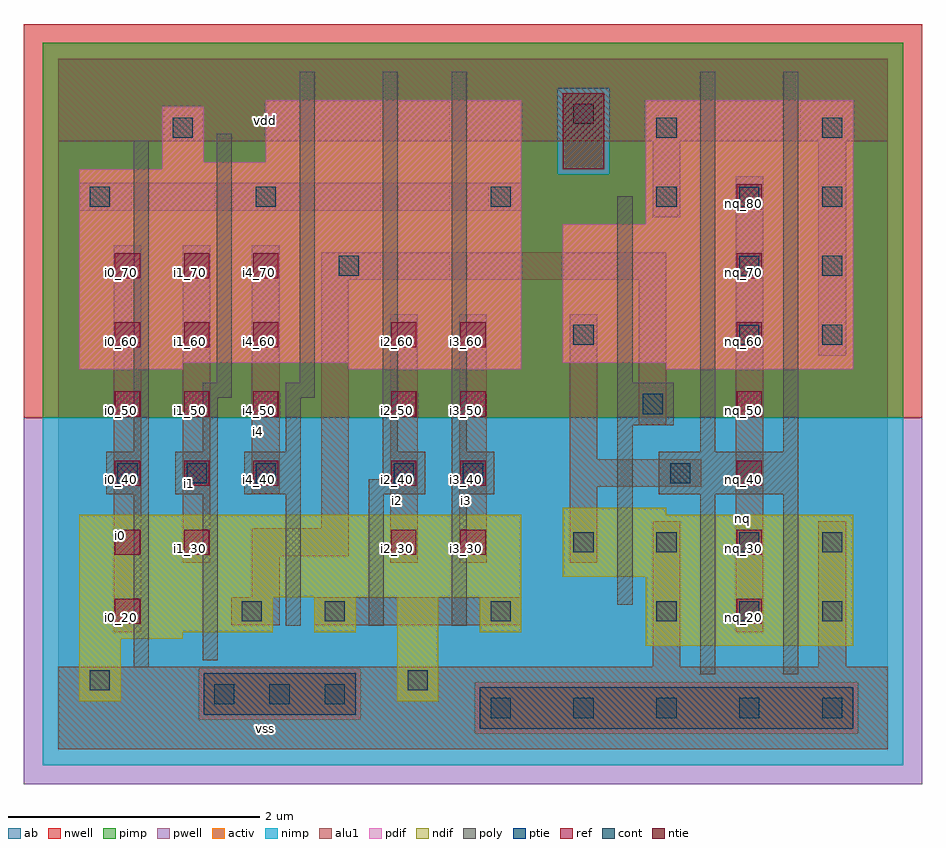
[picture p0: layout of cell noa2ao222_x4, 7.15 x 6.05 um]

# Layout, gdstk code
import gdstk
lib = gdstk.Library(unit=1e-6, precision=2.5e-09)
def R(c, l, rs):  # rectangles x0, y0, x1, y1
    for r in rs: c.add(gdstk.rectangle(r[:2], r[2:], *l))
def A(c, l, x, y, w, h, nx, ny, dx, dy):  # array of equal rectangles
    R(c, l, [(x+i*dx, y+j*dy, x+i*dx+w, y+j*dy+h) for i in range(nx) for j in range(ny)])
ndif = (3, 0)
pdif = (4, 0)
ntie = (5, 0)
ptie = (6, 0)
ref = (24, 0)
cont = (25, 0)
pwell = (41, 0)
nwell = (42, 0)
activ = (43, 0)
pimp = (44, 0)
nimp = (45, 0)
poly = (46, 0)
alu1 = (49, 0)
ab = (63, 0)

noa2ao222_x4 = lib.new_cell('noa2ao222_x4')
R(noa2ao222_x4, ndif, [(0.165,0.385,0.495,0.88), (2.695,0.385,3.025,1.21), (4.675,0.825,6.325,1.375), (0.165,0.88,0.99,0.935), (0.165,0.935,1.705,1.21), (2.035,0.935,2.365,1.21), (3.355,0.935,3.685,1.21), (0.165,1.21,3.685,1.87), (4.015,1.375,6.325,1.87), (4.015,1.87,4.84,1.925)])
R(noa2ao222_x4, pdif, [(0.165,3.025,0.99,3.08), (2.31,3.025,3.685,3.08), (4.84,3.025,6.325,3.08), (0.165,3.08,3.685,4.62), (4.015,3.08,6.325,4.18), (4.675,4.18,6.325,5.17), (0.825,4.62,3.685,4.675), (0.825,4.675,1.155,5.115), (1.65,4.675,3.685,5.17)])
R(noa2ao222_x4, ntie, [(4.015,4.62,4.345,5.225)])
R(noa2ao222_x4, ptie, [(3.355,0.165,6.325,0.495), (1.155,0.275,2.365,0.605)])
A(noa2ao222_x4, ref, 5.4, 1, 0.2, 0.2, 1, 7, 0, 0.55)
A(noa2ao222_x4, ref, 2.65, 1.55, 0.2, 0.2, 1, 4, 0, 0.55)
A(noa2ao222_x4, ref, 3.2, 1.55, 0.2, 0.2, 1, 4, 0, 0.55)
A(noa2ao222_x4, ref, 0.45, 2.1, 0.2, 0.2, 3, 4, 0.55, 0.55)
R(noa2ao222_x4, ref, [(0.45,1,0.65,1.2), (0.45,1.55,0.65,1.75), (1,1.55,1.2,1.75)])
A(noa2ao222_x4, cont, 3.44, 0.25, 0.16, 0.16, 5, 1, 0.66, 0)
A(noa2ao222_x4, cont, 1.24, 0.36, 0.16, 0.16, 3, 1, 0.44, 0)
A(noa2ao222_x4, cont, 2.12, 1.02, 0.16, 0.16, 3, 1, 1.32, 0)
A(noa2ao222_x4, cont, 4.1, 1.57, 0.16, 0.16, 4, 1, 0.66, 0)
A(noa2ao222_x4, cont, 0.47, 2.12, 0.16, 0.16, 3, 1, 0.55, 0)
A(noa2ao222_x4, cont, 4.76, 4.32, 0.16, 0.16, 3, 1, 0.66, 0)
R(noa2ao222_x4, cont, [(0.25,0.47,0.41,0.63), (2.78,0.47,2.94,0.63), (1.46,1.02,1.62,1.18), (5.42,1.02,5.58,1.18), (6.08,1.02,6.24,1.18), (2.67,2.12,2.83,2.28), (3.22,2.12,3.38,2.28), (4.87,2.12,5.03,2.28), (4.65,2.67,4.81,2.83), (4.1,3.22,4.26,3.38), (5.42,3.22,5.58,3.38), (6.08,3.22,6.24,3.38), (2.23,3.77,2.39,3.93), (5.42,3.77,5.58,3.93), (6.08,3.77,6.24,3.93), (0.25,4.32,0.41,4.48), (1.57,4.32,1.73,4.48), (3.44,4.32,3.6,4.48), (0.91,4.87,1.07,5.03), (4.76,4.87,4.92,5.03), (6.08,4.87,6.24,5.03), (4.1,4.98,4.26,5.14)])
R(noa2ao222_x4, pwell, [(-0.275,-0.275,6.875,2.64)])
R(noa2ao222_x4, nwell, [(-0.275,2.64,6.875,5.775)])
R(noa2ao222_x4, activ, [(3.355,0.165,6.325,0.495), (1.155,0.275,2.365,0.605), (0.165,0.385,0.495,0.88), (2.695,0.385,3.025,1.21), (4.675,0.825,6.325,1.375), (0.165,0.88,0.99,0.935), (0.165,0.935,1.705,1.21), (2.035,0.935,2.365,1.21), (3.355,0.935,3.685,1.21), (0.165,1.21,3.685,1.87), (4.015,1.375,6.325,1.87), (4.015,1.87,4.84,1.925), (0.165,3.025,0.99,3.08), (2.31,3.025,3.685,3.08), (4.84,3.025,6.325,3.08), (0.165,3.08,3.685,4.62), (4.015,3.08,6.325,4.18), (4.675,4.18,6.325,5.17), (0.825,4.62,3.685,4.675), (4.015,4.62,4.345,5.225), (0.825,4.675,1.155,5.115), (1.65,4.675,3.685,5.17)])
R(noa2ao222_x4, pimp, [(3.315,0.125,6.365,0.535), (1.115,0.235,2.405,0.645), (-0.125,2.64,6.725,4.58), (-0.125,4.58,3.975,5.265), (4.385,4.58,6.725,5.265), (-0.125,5.265,6.725,5.625)])
R(noa2ao222_x4, nimp, [(-0.125,-0.125,6.725,0.125), (-0.125,0.125,3.315,0.235), (6.365,0.125,6.725,0.535), (-0.125,0.235,1.115,0.645), (2.405,0.235,3.315,0.535), (2.405,0.535,6.725,0.645), (-0.125,0.645,6.725,2.64), (3.975,4.58,4.385,5.265)])
A(noa2ao222_x4, poly, 1.81, 0.985, 0.12, 1.045, 3, 1, 0.66, 0)
R(noa2ao222_x4, poly, [(5.11,0.6,5.23,2.03), (5.77,0.6,5.89,2.03), (0.6,0.655,0.72,2.03), (1.15,0.71,1.27,2.03), (4.45,1.15,4.57,2.58), (0.38,2.03,0.72,2.37), (0.93,2.03,1.27,2.37), (1.48,2.03,1.93,2.37), (2.47,2.03,2.92,2.15), (3.13,2.03,3.47,2.37), (4.78,2.03,5.89,2.37), (2.58,2.15,2.92,2.37), (0.6,2.37,0.72,4.845), (1.15,2.37,1.27,2.8), (1.81,2.37,1.93,2.8), (2.58,2.37,2.7,5.395), (3.13,2.37,3.25,5.395), (5.11,2.37,5.23,5.395), (5.77,2.37,5.89,5.395), (4.45,2.58,4.9,2.92), (1.15,2.8,1.38,2.92), (1.81,2.8,2.04,2.92), (1.26,2.92,1.38,4.9), (1.92,2.92,2.04,5.395), (4.45,2.92,4.57,4.405)])
R(noa2ao222_x4, alu1, [(0,0,6.6,0.66), (4.73,0.66,4.95,1.815), (6.05,0.66,6.27,1.815), (0.44,0.935,0.66,4.015), (5.39,0.935,5.61,4.565), (1.375,0.99,1.76,1.21), (2.035,0.99,3.685,1.21), (1.54,1.21,1.76,1.54), (0.99,1.485,1.21,4.015), (2.64,1.485,2.86,3.465), (3.19,1.485,3.41,3.465), (4.07,1.485,4.29,2.09), (1.54,1.54,2.31,1.76), (2.09,1.76,2.31,3.74), (1.54,2.035,1.76,4.015), (4.07,2.09,5.115,2.31), (4.07,2.31,4.29,3.465), (4.62,2.585,4.84,3.74), (6.05,3.135,6.27,4.84), (2.09,3.74,4.84,3.96), (4.73,4.235,4.95,4.84), (0.165,4.29,3.685,4.51), (0,4.84,6.6,5.5)])
R(noa2ao222_x4, ab, [(0,0,6.6,5.5)])
noa2ao222_x4.add(gdstk.Label('vss', (1.65,0.165), layer=49, texttype=0))
noa2ao222_x4.add(gdstk.Label('nq', (5.445,1.8425), layer=49, texttype=0))
noa2ao222_x4.add(gdstk.Label('i3', (3.245,1.98), layer=49, texttype=0))
noa2ao222_x4.add(gdstk.Label('i2', (2.695,1.98), layer=49, texttype=0))
noa2ao222_x4.add(gdstk.Label('i4', (1.595,2.53), layer=49, texttype=0))
noa2ao222_x4.add(gdstk.Label('i1', (1.045,2.1175), layer=49, texttype=0))
noa2ao222_x4.add(gdstk.Label('i0', (0.495,1.705), layer=49, texttype=0))
noa2ao222_x4.add(gdstk.Label('vdd', (1.65,5.005), layer=49, texttype=0))
noa2ao222_x4.add(gdstk.Label('nq_80', (5.45,4.35), layer=24, texttype=0))
noa2ao222_x4.add(gdstk.Label('nq_40', (5.45,2.15), layer=24, texttype=0))
noa2ao222_x4.add(gdstk.Label('nq_50', (5.45,2.7), layer=24, texttype=0))
noa2ao222_x4.add(gdstk.Label('nq_60', (5.45,3.25), layer=24, texttype=0))
noa2ao222_x4.add(gdstk.Label('nq_20', (5.45,1.05), layer=24, texttype=0))
noa2ao222_x4.add(gdstk.Label('nq_70', (5.45,3.8), layer=24, texttype=0))
noa2ao222_x4.add(gdstk.Label('nq_30', (5.45,1.6), layer=24, texttype=0))
noa2ao222_x4.add(gdstk.Label('i0_20', (0.5,1.05), layer=24, texttype=0))
noa2ao222_x4.add(gdstk.Label('i0_30', (0.5,1.6), layer=24, texttype=0))
noa2ao222_x4.add(gdstk.Label('i0_40', (0.5,2.15), layer=24, texttype=0))
noa2ao222_x4.add(gdstk.Label('i0_50', (0.5,2.7), layer=24, texttype=0))
noa2ao222_x4.add(gdstk.Label('i0_60', (0.5,3.25), layer=24, texttype=0))
noa2ao222_x4.add(gdstk.Label('i0_70', (0.5,3.8), layer=24, texttype=0))
noa2ao222_x4.add(gdstk.Label('i1_70', (1.05,3.8), layer=24, texttype=0))
noa2ao222_x4.add(gdstk.Label('i1_60', (1.05,3.25), layer=24, texttype=0))
noa2ao222_x4.add(gdstk.Label('i1_50', (1.05,2.7), layer=24, texttype=0))
noa2ao222_x4.add(gdstk.Label('i1_40', (1.05,2.15), layer=24, texttype=0))
noa2ao222_x4.add(gdstk.Label('i1_30', (1.05,1.6), layer=24, texttype=0))
noa2ao222_x4.add(gdstk.Label('i4_70', (1.6,3.8), layer=24, texttype=0))
noa2ao222_x4.add(gdstk.Label('i4_60', (1.6,3.25), layer=24, texttype=0))
noa2ao222_x4.add(gdstk.Label('i4_50', (1.6,2.7), layer=24, texttype=0))
noa2ao222_x4.add(gdstk.Label('i4_40', (1.6,2.15), layer=24, texttype=0))
noa2ao222_x4.add(gdstk.Label('i2_30', (2.7,1.6), layer=24, texttype=0))
noa2ao222_x4.add(gdstk.Label('i2_40', (2.7,2.15), layer=24, texttype=0))
noa2ao222_x4.add(gdstk.Label('i2_50', (2.7,2.7), layer=24, texttype=0))
noa2ao222_x4.add(gdstk.Label('i2_60', (2.7,3.25), layer=24, texttype=0))
noa2ao222_x4.add(gdstk.Label('i3_30', (3.25,1.6), layer=24, texttype=0))
noa2ao222_x4.add(gdstk.Label('i3_40', (3.25,2.15), layer=24, texttype=0))
noa2ao222_x4.add(gdstk.Label('i3_50', (3.25,2.7), layer=24, texttype=0))
noa2ao222_x4.add(gdstk.Label('i3_60', (3.25,3.25), layer=24, texttype=0))

lib.write_gds('noa2ao222_x4.gds')
